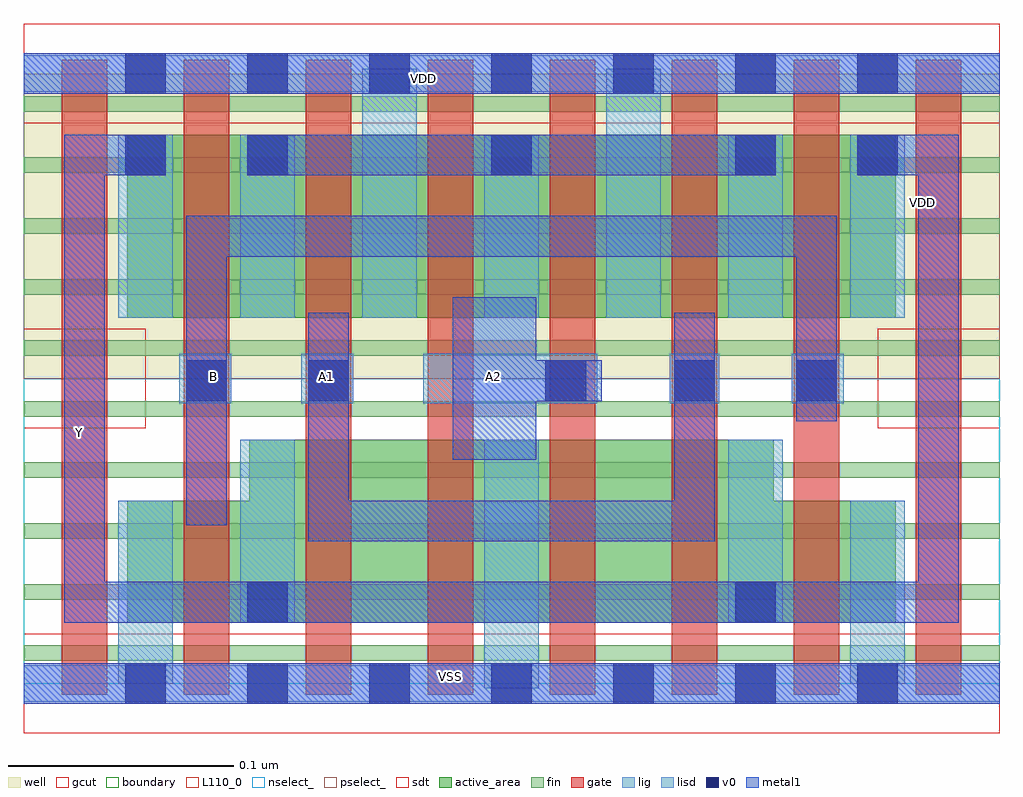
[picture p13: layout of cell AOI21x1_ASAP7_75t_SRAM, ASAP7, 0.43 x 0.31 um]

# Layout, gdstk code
import gdstk
lib = gdstk.Library(unit=1e-6, precision=1e-09)
def R(c, l, rs):  # rectangles x0, y0, x1, y1
    for r in rs: c.add(gdstk.rectangle(r[:2], r[2:], *l))
def A(c, l, x, y, w, h, nx, ny, dx, dy):  # array of equal rectangles
    R(c, l, [(x+i*dx, y+j*dy, x+i*dx+w, y+j*dy+h) for i in range(nx) for j in range(ny)])
def P(c, l, *ps):  # polygons
    for p in ps: c.add(gdstk.Polygon(p, *l))
well = (1, 0)
fin = (2, 0)
gate = (7, 0)
gcut = (10, 0)
active_area = (11, 0)
nselect_ = (12, 0)
pselect_ = (13, 0)
lig = (16, 0)
lisd = (17, 0)
v0 = (18, 0)
metal1 = (19, 0)
sdt = (88, 0)
boundary = (100, 0)
L110_0 = (110, 0)

aoi21x1_asap7_75t_sram = lib.new_cell('AOI21x1_ASAP7_75t_SRAM')
R(aoi21x1_asap7_75t_sram, well, [(0,0.135,0.432,0.27)])
A(aoi21x1_asap7_75t_sram, fin, 0, 0.01, 0.432, 0.007, 1, 10, 0, 0.027)
A(aoi21x1_asap7_75t_sram, gate, 0.017, -0.005, 0.02, 0.281, 8, 1, 0.054, 0)
R(aoi21x1_asap7_75t_sram, gcut, [(0,-0.022,0.432,0.022), (0,0.113,0.054,0.157), (0.378,0.113,0.432,0.157), (0,0.248,0.432,0.292)])
R(aoi21x1_asap7_75t_sram, active_area, [(0.046,0.162,0.386,0.243)])
P(aoi21x1_asap7_75t_sram, active_area, [(0.386,0.081),(0.332,0.081),(0.332,0.108),(0.1,0.108),(0.1,0.081),(0.046,0.081),(0.046,0.027),(0.386,0.027)])
R(aoi21x1_asap7_75t_sram, nselect_, [(0,0,0.432,0.135)])
R(aoi21x1_asap7_75t_sram, pselect_, [(0,0.135,0.432,0.27)])
R(aoi21x1_asap7_75t_sram, lig, [(0,-0.008,0.432,0.008), (0.069,0.124,0.092,0.146), (0.123,0.124,0.146,0.146), (0.177,0.124,0.254,0.146), (0.286,0.124,0.308,0.146), (0.34,0.124,0.363,0.146), (0,0.262,0.432,0.278)])
A(aoi21x1_asap7_75t_sram, lisd, 0.096, 0.162, 0.024, 0.081, 3, 1, 0.108, 0)
R(aoi21x1_asap7_75t_sram, lisd, [(0.204,-0.002,0.228,0.108), (0.042,0,0.066,0.081), (0.366,0,0.39,0.081), (0.096,0.027,0.12,0.108), (0.312,0.027,0.336,0.108), (0.042,0.162,0.066,0.243), (0.15,0.162,0.174,0.272), (0.258,0.162,0.282,0.272), (0.366,0.162,0.39,0.243)])
A(aoi21x1_asap7_75t_sram, v0, 0.045, -0.009, 0.018, 0.018, 7, 2, 0.054, 0.27)
A(aoi21x1_asap7_75t_sram, v0, 0.099, 0.225, 0.018, 0.018, 3, 1, 0.108, 0)
R(aoi21x1_asap7_75t_sram, v0, [(0.099,0.027,0.117,0.045), (0.315,0.027,0.333,0.045), (0.072,0.125,0.09,0.143), (0.126,0.125,0.144,0.143), (0.231,0.125,0.249,0.143), (0.288,0.125,0.306,0.143), (0.342,0.125,0.36,0.143), (0.045,0.225,0.063,0.243), (0.369,0.225,0.387,0.243)])
R(aoi21x1_asap7_75t_sram, metal1, [(0,-0.009,0.432,0.009), (0.099,0.225,0.333,0.243), (0,0.261,0.432,0.279)])
P(aoi21x1_asap7_75t_sram, metal1, [(0.256,0.143),(0.227,0.143),(0.227,0.171),(0.19,0.171),(0.19,0.099),(0.227,0.099),(0.227,0.125),(0.256,0.125)],
  [(0.306,0.164),(0.288,0.164),(0.288,0.081),(0.144,0.081),(0.144,0.164),(0.126,0.164),(0.126,0.063),(0.306,0.063)],
  [(0.36,0.207),(0.072,0.207),(0.072,0.07),(0.09,0.07),(0.09,0.189),(0.342,0.189),(0.342,0.116),(0.36,0.116)],
  [(0.414,0.243),(0.369,0.243),(0.369,0.225),(0.396,0.225),(0.396,0.045),(0.036,0.045),(0.036,0.225),(0.063,0.225),(0.063,0.243),(0.018,0.243),(0.018,0.027),(0.414,0.027)])
A(aoi21x1_asap7_75t_sram, sdt, 0.096, 0.027, 0.024, 0.081, 3, 1, 0.108, 0)
A(aoi21x1_asap7_75t_sram, sdt, 0.042, 0.162, 0.024, 0.081, 7, 1, 0.054, 0)
R(aoi21x1_asap7_75t_sram, sdt, [(0.042,0.027,0.066,0.081), (0.366,0.027,0.39,0.081)])
R(aoi21x1_asap7_75t_sram, boundary, [(0,0,0.432,0.27)])
R(aoi21x1_asap7_75t_sram, L110_0, [(0,0,0.432,0.27)])
aoi21x1_asap7_75t_sram.add(gdstk.Label('B', (0.084,0.136), layer=19, texttype=251))
aoi21x1_asap7_75t_sram.add(gdstk.Label('A1', (0.134,0.136), layer=19, texttype=251))
aoi21x1_asap7_75t_sram.add(gdstk.Label('A2', (0.208,0.136), layer=19, texttype=251))
aoi21x1_asap7_75t_sram.add(gdstk.Label('VDD', (0.177,0.268), layer=19, texttype=251))
aoi21x1_asap7_75t_sram.add(gdstk.Label('VSS', (0.189,0.003), layer=19, texttype=251))
aoi21x1_asap7_75t_sram.add(gdstk.Label('Y', (0.025,0.111), layer=19, texttype=251))
aoi21x1_asap7_75t_sram.add(gdstk.Label('VDD', (0.398,0.213), layer=1, texttype=251))
aoi21x1_asap7_75t_sram.add(gdstk.Label('VSS', (0.094,-0.038), layer=3, texttype=251))

lib.write_gds('AOI21x1_ASAP7_75t_SRAM.gds')
